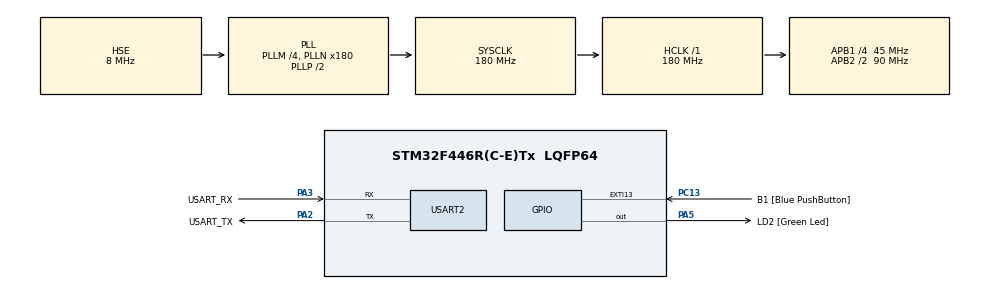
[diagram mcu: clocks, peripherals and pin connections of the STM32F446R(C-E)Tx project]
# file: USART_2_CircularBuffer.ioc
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Dma.Request0=USART2_RX
Dma.USART2_RX.0.Direction=DMA_PERIPH_TO_MEMORY
Dma.USART2_RX.0.FIFOMode=DMA_FIFOMODE_DISABLE
Dma.USART2_RX.0.Instance=DMA1_Stream5
Dma.USART2_RX.0.MemDataAlignment=DMA_MDATAALIGN_BYTE
Dma.USART2_RX.0.MemInc=DMA_MINC_ENABLE
Dma.USART2_RX.0.Mode=DMA_CIRCULAR
Dma.USART2_RX.0.PeriphDataAlignment=DMA_PDATAALIGN_BYTE
Dma.USART2_RX.0.PeriphInc=DMA_PINC_DISABLE
Dma.USART2_RX.0.Priority=DMA_PRIORITY_LOW
Mcu.Family=STM32F4
Mcu.Name=STM32F446R(C-E)Tx
Mcu.Package=LQFP64
NVIC.DMA1_Stream5_IRQn=true\:0\:0\:false\:false\:true\:false\:true\:true
NVIC.EXTI15_10_IRQn=true\:0\:0\:false\:false\:true\:true\:true\:true
NVIC.PriorityGroup=NVIC_PRIORITYGROUP_0
NVIC.USART2_IRQn=true\:0\:0\:false\:false\:true\:true\:true\:true
PA13.GPIO_Label=TMS
PA13.Mode=Serial_Wire
PA13.Signal=SYS_JTMS-SWDIO
PA14.GPIO_Label=TCK
PA14.Mode=Serial_Wire
PA14.Signal=SYS_JTCK-SWCLK
PA2.GPIO_Label=USART_TX
PA2.Mode=Asynchronous
PA2.Signal=USART2_TX
PA3.GPIO_Label=USART_RX
PA3.Mode=Asynchronous
PA3.Signal=USART2_RX
PA5.GPIO_Label=LD2 [Green Led]
PA5.Signal=GPIO_Output
PB3.GPIO_Label=SWO
PB3.Signal=SYS_JTDO-SWO
PC13.GPIO_Label=B1 [Blue PushButton]
PC13.GPIO_ModeDefaultEXTI=GPIO_MODE_IT_FALLING
PC13.Signal=GPXTI13
PC14-OSC32_IN.Mode=LSE-External-Oscillator
PC14-OSC32_IN.Signal=RCC_OSC32_IN
PC15-OSC32_OUT.Mode=LSE-External-Oscillator
PC15-OSC32_OUT.Signal=RCC_OSC32_OUT
PH0-OSC_IN.Mode=HSE-External-Oscillator
PH0-OSC_IN.Signal=RCC_OSC_IN
PH1-OSC_OUT.Mode=HSE-External-Oscillator
PH1-OSC_OUT.Signal=RCC_OSC_OUT
ProjectManager.HeapSize=0x200
ProjectManager.StackSize=0x400
ProjectManager.TargetToolchain=STM32CubeIDE
RCC.48MHZClocksFreq_Value=84000000
RCC.AHBFreq_Value=180000000
RCC.APB1CLKDivider=RCC_HCLK_DIV4
RCC.APB1Freq_Value=45000000
RCC.APB1TimFreq_Value=90000000
RCC.APB2CLKDivider=RCC_HCLK_DIV2
RCC.APB2Freq_Value=90000000
RCC.APB2TimFreq_Value=180000000
RCC.CortexFreq_Value=180000000
RCC.FLatency-AdvancedSettings=FLASH_LATENCY_5
RCC.HCLKFreq_Value=180000000
RCC.HSE_VALUE=8000000
RCC.HSI_VALUE=16000000
RCC.PLLM=4
RCC.PLLN=180
RCC.PLLSourceVirtual=RCC_PLLSOURCE_HSE
RCC.SYSCLKFreq_VALUE=180000000
RCC.SYSCLKSource=RCC_SYSCLKSOURCE_PLLCLK
RCC.USBFreq_Value=180000000
RCC.VCOOutputFreq_Value=360000000
USART2.VirtualMode=VM_ASYNC
board=NUCLEO-F446RE

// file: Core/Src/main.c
/* USER CODE BEGIN Header */
/**
  ******************************************************************************
  * @file           : main.c
  * @brief          : Main program body
  ******************************************************************************
  * @attention
  *
  * Copyright (c) 2024 STMicroelectronics.
  * All rights reserved.
  *
  * This software is licensed under terms that can be found in the LICENSE file
  * in the root directory of this software component.
  * If no LICENSE file comes with this software, it is provided AS-IS.
  *
  ******************************************************************************
  */
/* USER CODE END Header */
#include "main.h"

/* USER CODE BEGIN Includes */
#include <stdio.h>
#include <string.h>
#include <stdbool.h>
#include <stdint.h>
/* USER CODE END Includes */

/* USER CODE BEGIN PTD */
#define RX_BUFFER_SIZE 12
/* USER CODE END PTD */

UART_HandleTypeDef huart2;
DMA_HandleTypeDef hdma_usart2_rx;

/* USER CODE BEGIN PV */

uint8_t RxBuffer[RX_BUFFER_SIZE];
uint8_t Rxbyte = 0;
uint8_t Rx_Counter = 0;
bool datareceived = 0;

/* USER CODE END PV */

void SystemClock_Config(void);
static void MX_GPIO_Init(void);
static void MX_DMA_Init(void);
static void MX_USART2_UART_Init(void);

/* USER CODE BEGIN 0 */
 void Process_ReceivedData(uint8_t *pdata,uint8_t size)
{
	 HAL_UART_Transmit(&huart2, pdata, size, HAL_MAX_DELAY);
	 if(strcmp((char *)RxBuffer,"LED 1 ON") == 0) {

		  HAL_GPIO_WritePin(LD2_GPIO_Port, LD2_Pin, 1);
	  }

	  if(strcmp((char *)RxBuffer,"LED 1 OFF") == 0) {

		  HAL_GPIO_WritePin(LD2_GPIO_Port, LD2_Pin, 0);
	  }
}
void HAL_UART_RxCpltCallback(UART_HandleTypeDef *huart)
{
  if(huart->Instance == USART2) {

	  if(Rxbyte == '?') {
		  datareceived = 1;
		  Process_ReceivedData(RxBuffer,Rx_Counter);
		  memset((char *)RxBuffer,0,RX_BUFFER_SIZE);
		  Rx_Counter = 0;
	  }
	  else{
		  if(Rx_Counter < RX_BUFFER_SIZE) {

			  RxBuffer[Rx_Counter++] = Rxbyte;
		  }
	  }

	  HAL_UART_Receive_IT(huart, &Rxbyte, 1);
  }
}

/* USER CODE END 0 */

int main(void)
{

  /* MCU Configuration--------------------------------------------------------*/

  /* Reset of all peripherals, Initializes the Flash interface and the Systick. */
  HAL_Init();

  /* Configure the system clock */
  SystemClock_Config();

  /* Initialize all configured peripherals */
  MX_GPIO_Init();
  MX_DMA_Init();
  MX_USART2_UART_Init();
  /* USER CODE BEGIN 2 */

  HAL_UART_Receive_IT(&huart2, &Rxbyte, 1);

  /* USER CODE END 2 */

  /* Infinite loop */
  while (1)
  {

  }
}

void SystemClock_Config(void)
{
  RCC_OscInitTypeDef RCC_OscInitStruct = {0};
  RCC_ClkInitTypeDef RCC_ClkInitStruct = {0};

  /** Configure the main internal regulator output voltage
  */
  __HAL_RCC_PWR_CLK_ENABLE();
  __HAL_PWR_VOLTAGESCALING_CONFIG(PWR_REGULATOR_VOLTAGE_SCALE1);

  /** Initializes the RCC Oscillators according to the specified parameters
  * in the RCC_OscInitTypeDef structure.
  */
  RCC_OscInitStruct.OscillatorType = RCC_OSCILLATORTYPE_HSE;
  RCC_OscInitStruct.HSEState = RCC_HSE_ON;
  RCC_OscInitStruct.PLL.PLLState = RCC_PLL_ON;
  RCC_OscInitStruct.PLL.PLLSource = RCC_PLLSOURCE_HSE;
  RCC_OscInitStruct.PLL.PLLM = 4;
  RCC_OscInitStruct.PLL.PLLN = 180;
  RCC_OscInitStruct.PLL.PLLP = RCC_PLLP_DIV2;
  RCC_OscInitStruct.PLL.PLLQ = 2;
  RCC_OscInitStruct.PLL.PLLR = 2;
  if (HAL_RCC_OscConfig(&RCC_OscInitStruct) != HAL_OK)
  {
    Error_Handler();
  }

  /** Activate the Over-Drive mode
  */
  if (HAL_PWREx_EnableOverDrive() != HAL_OK)
  {
    Error_Handler();
  }

  /** Initializes the CPU, AHB and APB buses clocks
  */
  RCC_ClkInitStruct.ClockType = RCC_CLOCKTYPE_HCLK|RCC_CLOCKTYPE_SYSCLK
                              |RCC_CLOCKTYPE_PCLK1|RCC_CLOCKTYPE_PCLK2;
  RCC_ClkInitStruct.SYSCLKSource = RCC_SYSCLKSOURCE_PLLCLK;
  RCC_ClkInitStruct.AHBCLKDivider = RCC_SYSCLK_DIV1;
  RCC_ClkInitStruct.APB1CLKDivider = RCC_HCLK_DIV4;
  RCC_ClkInitStruct.APB2CLKDivider = RCC_HCLK_DIV2;

  if (HAL_RCC_ClockConfig(&RCC_ClkInitStruct, FLASH_LATENCY_5) != HAL_OK)
  {
    Error_Handler();
  }
}

static void MX_USART2_UART_Init(void)
{

  huart2.Instance = USART2;
  huart2.Init.BaudRate = 115200;
  huart2.Init.WordLength = UART_WORDLENGTH_8B;
  huart2.Init.StopBits = UART_STOPBITS_1;
  huart2.Init.Parity = UART_PARITY_NONE;
  huart2.Init.Mode = UART_MODE_TX_RX;
  huart2.Init.HwFlowCtl = UART_HWCONTROL_NONE;
  huart2.Init.OverSampling = UART_OVERSAMPLING_16;
  if (HAL_UART_Init(&huart2) != HAL_OK)
  {
    Error_Handler();
  }

}

static void MX_DMA_Init(void)
{

  /* DMA controller clock enable */
  __HAL_RCC_DMA1_CLK_ENABLE();

  /* DMA interrupt init */
  /* DMA1_Stream5_IRQn interrupt configuration */
  HAL_NVIC_SetPriority(DMA1_Stream5_IRQn, 0, 0);
  HAL_NVIC_EnableIRQ(DMA1_Stream5_IRQn);

}

static void MX_GPIO_Init(void)
{
  GPIO_InitTypeDef GPIO_InitStruct = {0};

  /* GPIO Ports Clock Enable */
  __HAL_RCC_GPIOC_CLK_ENABLE();
  __HAL_RCC_GPIOH_CLK_ENABLE();
  __HAL_RCC_GPIOA_CLK_ENABLE();
  __HAL_RCC_GPIOB_CLK_ENABLE();

  /*Configure GPIO pin Output Level */
  HAL_GPIO_WritePin(LD2_GPIO_Port, LD2_Pin, GPIO_PIN_RESET);

  /*Configure GPIO pin : B1_Pin */
  GPIO_InitStruct.Pin = B1_Pin;
  GPIO_InitStruct.Mode = GPIO_MODE_IT_FALLING;
  GPIO_InitStruct.Pull = GPIO_NOPULL;
  HAL_GPIO_Init(B1_GPIO_Port, &GPIO_InitStruct);

  /*Configure GPIO pin : LD2_Pin */
  GPIO_InitStruct.Pin = LD2_Pin;
  GPIO_InitStruct.Mode = GPIO_MODE_OUTPUT_PP;
  GPIO_InitStruct.Pull = GPIO_NOPULL;
  GPIO_InitStruct.Speed = GPIO_SPEED_FREQ_LOW;
  HAL_GPIO_Init(LD2_GPIO_Port, &GPIO_InitStruct);

  /* EXTI interrupt init*/
  HAL_NVIC_SetPriority(EXTI15_10_IRQn, 0, 0);
  HAL_NVIC_EnableIRQ(EXTI15_10_IRQn);

}

void Error_Handler(void)
{
  __disable_irq();
  while (1)
  {
  }
}
